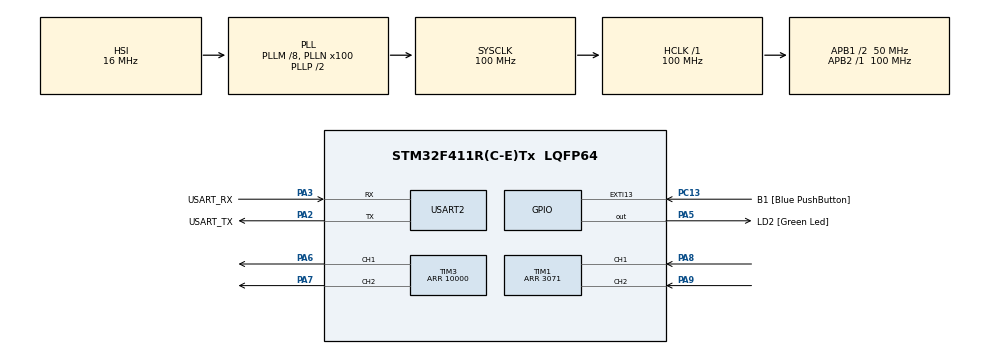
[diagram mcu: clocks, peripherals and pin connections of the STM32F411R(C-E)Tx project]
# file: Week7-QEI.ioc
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Mcu.Family=STM32F4
Mcu.Name=STM32F411R(C-E)Tx
Mcu.Package=LQFP64
NVIC.PriorityGroup=NVIC_PRIORITYGROUP_0
NVIC.TIM2_IRQn=true\:0\:0\:false\:false\:true\:true\:true
NVIC.TIM3_IRQn=true\:0\:0\:false\:false\:true\:true\:true
PA13.GPIO_Label=TMS
PA13.Mode=Serial_Wire
PA13.Signal=SYS_JTMS-SWDIO
PA14.GPIO_Label=TCK
PA14.Mode=Serial_Wire
PA14.Signal=SYS_JTCK-SWCLK
PA2.GPIO_Label=USART_TX
PA2.Mode=Asynchronous
PA2.Signal=USART2_TX
PA3.GPIO_Label=USART_RX
PA3.Mode=Asynchronous
PA3.Signal=USART2_RX
PA5.GPIO_Label=LD2 [Green Led]
PA5.Signal=GPIO_Output
PA6.Signal=S_TIM3_CH1
PA7.Signal=S_TIM3_CH2
PA8.Signal=S_TIM1_CH1
PA9.Signal=S_TIM1_CH2
PB3.GPIO_Label=SWO
PB3.Signal=SYS_JTDO-SWO
PC13-ANTI_TAMP.GPIO_Label=B1 [Blue PushButton]
PC13-ANTI_TAMP.GPIO_ModeDefaultEXTI=GPIO_MODE_IT_FALLING
PC13-ANTI_TAMP.Signal=GPXTI13
PC14-OSC32_IN.Mode=LSE-External-Oscillator
PC14-OSC32_IN.Signal=RCC_OSC32_IN
PC15-OSC32_OUT.Mode=LSE-External-Oscillator
PC15-OSC32_OUT.Signal=RCC_OSC32_OUT
PH0\ -\ OSC_IN.Mode=HSE-External-Clock-Source
PH0\ -\ OSC_IN.Signal=RCC_OSC_IN
PH1\ -\ OSC_OUT.Mode=HSE-External-Clock-Source
PH1\ -\ OSC_OUT.Signal=RCC_OSC_OUT
ProjectManager.HeapSize=0x200
ProjectManager.StackSize=0x400
ProjectManager.TargetToolchain=STM32CubeIDE
RCC.48MHZClocksFreq_Value=50000000
RCC.AHBFreq_Value=100000000
RCC.APB1CLKDivider=RCC_HCLK_DIV2
RCC.APB1Freq_Value=50000000
RCC.APB1TimFreq_Value=100000000
RCC.APB2Freq_Value=100000000
RCC.APB2TimFreq_Value=100000000
RCC.CortexFreq_Value=100000000
RCC.FLatency-AdvancedSettings=FLASH_LATENCY_3
RCC.HCLKFreq_Value=100000000
RCC.HSE_VALUE=8000000
RCC.HSI_VALUE=16000000
RCC.PLLM=8
RCC.PLLN=100
RCC.SYSCLKFreq_VALUE=100000000
RCC.SYSCLKSource=RCC_SYSCLKSOURCE_PLLCLK
RCC.VCOOutputFreq_Value=200000000
SH.S_TIM1_CH1.0=TIM1_CH1,Encoder_Interface
SH.S_TIM1_CH2.0=TIM1_CH2,Encoder_Interface
SH.S_TIM3_CH1.0=TIM3_CH1,PWM Generation1 CH1
SH.S_TIM3_CH2.0=TIM3_CH2,PWM Generation2 CH2
TIM1.EncoderMode=TIM_ENCODERMODE_TI12
TIM1.Period=3071
TIM2.Prescaler=99
TIM3.Channel-PWM\ Generation1\ CH1=TIM_CHANNEL_1
TIM3.Channel-PWM\ Generation2\ CH2=TIM_CHANNEL_2
TIM3.Period=10000
USART2.VirtualMode=VM_ASYNC
VP_TIM2_VS_ClockSourceINT.Mode=Internal
VP_TIM3_VS_ClockSourceINT.Mode=Internal
board=NUCLEO-F411RE

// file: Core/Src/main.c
/* USER CODE BEGIN Header */
/**
 ******************************************************************************
 * @file           : main.c
 * @brief          : Main program body
 ******************************************************************************
 * @attention
 *
 * <h2><center>&copy; Copyright (c) 2021 STMicroelectronics.
 * All rights reserved.</center></h2>
 *
 * This software component is licensed by ST under BSD 3-Clause license,
 * the "License"; You may not use this file except in compliance with the
 * License. You may obtain a copy of the License at:
 *                        opensource.org/licenses/BSD-3-Clause
 *
 ******************************************************************************
 */
/* USER CODE END Header */
#include "main.h"
#include "math.h"

TIM_HandleTypeDef htim1;
TIM_HandleTypeDef htim2;
TIM_HandleTypeDef htim3;

UART_HandleTypeDef huart2;

/* USER CODE BEGIN PV */
uint64_t _micros = 0;
float EncoderVel = 0;
float EncoderVelRPM = 0;
uint64_t Timestamp_Encoder = 0;

int PWMOut = 3000;

uint64_t _micro = 0;

float Volt = 1;
float KP = 125;
float KI = 1;
float KD = 1;
float error = 0;
float integral_error = 0;
float last_error = 0;
float newVolt = 0;
int RPMInput = 0;
float _EncoderVelocity_Update = 0;
/* USER CODE END PV */

void SystemClock_Config(void);
static void MX_GPIO_Init(void);
static void MX_USART2_UART_Init(void);
static void MX_TIM1_Init(void);
static void MX_TIM2_Init(void);
static void MX_TIM3_Init(void);
/* USER CODE BEGIN PFP */
uint64_t micros();
float EncoderVelocity_Update();
void RPMOut();

/* USER CODE END PFP */

int main(void)
{

  /* MCU Configuration--------------------------------------------------------*/

  /* Reset of all peripherals, Initializes the Flash interface and the Systick. */
  HAL_Init();

  /* Configure the system clock */
  SystemClock_Config();

  /* Initialize all configured peripherals */
  MX_GPIO_Init();
  MX_USART2_UART_Init();
  MX_TIM1_Init();
  MX_TIM2_Init();
  MX_TIM3_Init();
  /* USER CODE BEGIN 2 */
	HAL_TIM_Base_Start_IT(&htim2);
	HAL_TIM_Encoder_Start(&htim1, TIM_CHANNEL_ALL);
	HAL_TIM_Base_Start(&htim3);
	HAL_TIM_PWM_Start(&htim3, TIM_CHANNEL_1);
	HAL_TIM_PWM_Start(&htim3, TIM_CHANNEL_2);
  /* USER CODE END 2 */

  /* Infinite loop */
	while (1)
	{

    /* USER CODE BEGIN 3 */

		//RAW Read
//		if (micros() - Timestamp_Encoder >= 1000)
//		{
//			Timestamp_Encoder = micros();
//			EncoderVel = EncoderVelocity_Update();
//		}

		//Add LPF?
		if (micros() - Timestamp_Encoder >= 1000)
		{
			Timestamp_Encoder = micros();
			EncoderVel = (EncoderVel * 99 + EncoderVelocity_Update()) / 100.0; //P/S
			EncoderVelRPM = (EncoderVelRPM * 99 + (EncoderVel*60)/3072) / 100.0;  //RPM

			error = RPMInput-EncoderVelRPM;
			integral_error += error;
			PWMOut = (KP*error) + (KI*integral_error) + (KD*(error-last_error));
			last_error = error;

			if(RPMInput > 0)
			{
				__HAL_TIM_SET_COMPARE(&htim3, TIM_CHANNEL_1, abs(PWMOut));
				__HAL_TIM_SET_COMPARE(&htim3, TIM_CHANNEL_2, 0);
			}
			else if (RPMInput < 0)
			{
				__HAL_TIM_SET_COMPARE(&htim3, TIM_CHANNEL_1, 0);
				__HAL_TIM_SET_COMPARE(&htim3, TIM_CHANNEL_2, abs(PWMOut));
			}
			else
			{
				__HAL_TIM_SET_COMPARE(&htim3, TIM_CHANNEL_1, 0);
				__HAL_TIM_SET_COMPARE(&htim3, TIM_CHANNEL_2, 0);
			}

		}

	}
  /* USER CODE END 3 */
}

void SystemClock_Config(void)
{
  RCC_OscInitTypeDef RCC_OscInitStruct = {0};
  RCC_ClkInitTypeDef RCC_ClkInitStruct = {0};

  /** Configure the main internal regulator output voltage
  */
  __HAL_RCC_PWR_CLK_ENABLE();
  __HAL_PWR_VOLTAGESCALING_CONFIG(PWR_REGULATOR_VOLTAGE_SCALE1);
  /** Initializes the RCC Oscillators according to the specified parameters
  * in the RCC_OscInitTypeDef structure.
  */
  RCC_OscInitStruct.OscillatorType = RCC_OSCILLATORTYPE_HSI;
  RCC_OscInitStruct.HSIState = RCC_HSI_ON;
  RCC_OscInitStruct.HSICalibrationValue = RCC_HSICALIBRATION_DEFAULT;
  RCC_OscInitStruct.PLL.PLLState = RCC_PLL_ON;
  RCC_OscInitStruct.PLL.PLLSource = RCC_PLLSOURCE_HSI;
  RCC_OscInitStruct.PLL.PLLM = 8;
  RCC_OscInitStruct.PLL.PLLN = 100;
  RCC_OscInitStruct.PLL.PLLP = RCC_PLLP_DIV2;
  RCC_OscInitStruct.PLL.PLLQ = 4;
  if (HAL_RCC_OscConfig(&RCC_OscInitStruct) != HAL_OK)
  {
    Error_Handler();
  }
  /** Initializes the CPU, AHB and APB buses clocks
  */
  RCC_ClkInitStruct.ClockType = RCC_CLOCKTYPE_HCLK|RCC_CLOCKTYPE_SYSCLK
                              |RCC_CLOCKTYPE_PCLK1|RCC_CLOCKTYPE_PCLK2;
  RCC_ClkInitStruct.SYSCLKSource = RCC_SYSCLKSOURCE_PLLCLK;
  RCC_ClkInitStruct.AHBCLKDivider = RCC_SYSCLK_DIV1;
  RCC_ClkInitStruct.APB1CLKDivider = RCC_HCLK_DIV2;
  RCC_ClkInitStruct.APB2CLKDivider = RCC_HCLK_DIV1;

  if (HAL_RCC_ClockConfig(&RCC_ClkInitStruct, FLASH_LATENCY_3) != HAL_OK)
  {
    Error_Handler();
  }
}

static void MX_TIM1_Init(void)
{

  TIM_Encoder_InitTypeDef sConfig = {0};
  TIM_MasterConfigTypeDef sMasterConfig = {0};

  htim1.Instance = TIM1;
  htim1.Init.Prescaler = 0;
  htim1.Init.CounterMode = TIM_COUNTERMODE_UP;
  htim1.Init.Period = 3071;
  htim1.Init.ClockDivision = TIM_CLOCKDIVISION_DIV1;
  htim1.Init.RepetitionCounter = 0;
  htim1.Init.AutoReloadPreload = TIM_AUTORELOAD_PRELOAD_DISABLE;
  sConfig.EncoderMode = TIM_ENCODERMODE_TI12;
  sConfig.IC1Polarity = TIM_ICPOLARITY_RISING;
  sConfig.IC1Selection = TIM_ICSELECTION_DIRECTTI;
  sConfig.IC1Prescaler = TIM_ICPSC_DIV1;
  sConfig.IC1Filter = 0;
  sConfig.IC2Polarity = TIM_ICPOLARITY_RISING;
  sConfig.IC2Selection = TIM_ICSELECTION_DIRECTTI;
  sConfig.IC2Prescaler = TIM_ICPSC_DIV1;
  sConfig.IC2Filter = 0;
  if (HAL_TIM_Encoder_Init(&htim1, &sConfig) != HAL_OK)
  {
    Error_Handler();
  }
  sMasterConfig.MasterOutputTrigger = TIM_TRGO_RESET;
  sMasterConfig.MasterSlaveMode = TIM_MASTERSLAVEMODE_DISABLE;
  if (HAL_TIMEx_MasterConfigSynchronization(&htim1, &sMasterConfig) != HAL_OK)
  {
    Error_Handler();
  }

}

static void MX_TIM2_Init(void)
{

  TIM_ClockConfigTypeDef sClockSourceConfig = {0};
  TIM_MasterConfigTypeDef sMasterConfig = {0};

  htim2.Instance = TIM2;
  htim2.Init.Prescaler = 99;
  htim2.Init.CounterMode = TIM_COUNTERMODE_UP;
  htim2.Init.Period = 4294967295;
  htim2.Init.ClockDivision = TIM_CLOCKDIVISION_DIV1;
  htim2.Init.AutoReloadPreload = TIM_AUTORELOAD_PRELOAD_DISABLE;
  if (HAL_TIM_Base_Init(&htim2) != HAL_OK)
  {
    Error_Handler();
  }
  sClockSourceConfig.ClockSource = TIM_CLOCKSOURCE_INTERNAL;
  if (HAL_TIM_ConfigClockSource(&htim2, &sClockSourceConfig) != HAL_OK)
  {
    Error_Handler();
  }
  sMasterConfig.MasterOutputTrigger = TIM_TRGO_RESET;
  sMasterConfig.MasterSlaveMode = TIM_MASTERSLAVEMODE_DISABLE;
  if (HAL_TIMEx_MasterConfigSynchronization(&htim2, &sMasterConfig) != HAL_OK)
  {
    Error_Handler();
  }

}

static void MX_TIM3_Init(void)
{

  TIM_ClockConfigTypeDef sClockSourceConfig = {0};
  TIM_MasterConfigTypeDef sMasterConfig = {0};
  TIM_OC_InitTypeDef sConfigOC = {0};

  htim3.Instance = TIM3;
  htim3.Init.Prescaler = 0;
  htim3.Init.CounterMode = TIM_COUNTERMODE_UP;
  htim3.Init.Period = 10000;
  htim3.Init.ClockDivision = TIM_CLOCKDIVISION_DIV1;
  htim3.Init.AutoReloadPreload = TIM_AUTORELOAD_PRELOAD_DISABLE;
  if (HAL_TIM_Base_Init(&htim3) != HAL_OK)
  {
    Error_Handler();
  }
  sClockSourceConfig.ClockSource = TIM_CLOCKSOURCE_INTERNAL;
  if (HAL_TIM_ConfigClockSource(&htim3, &sClockSourceConfig) != HAL_OK)
  {
    Error_Handler();
  }
  if (HAL_TIM_PWM_Init(&htim3) != HAL_OK)
  {
    Error_Handler();
  }
  sMasterConfig.MasterOutputTrigger = TIM_TRGO_RESET;
  sMasterConfig.MasterSlaveMode = TIM_MASTERSLAVEMODE_DISABLE;
  if (HAL_TIMEx_MasterConfigSynchronization(&htim3, &sMasterConfig) != HAL_OK)
  {
    Error_Handler();
  }
  sConfigOC.OCMode = TIM_OCMODE_PWM1;
  sConfigOC.Pulse = 0;
  sConfigOC.OCPolarity = TIM_OCPOLARITY_HIGH;
  sConfigOC.OCFastMode = TIM_OCFAST_DISABLE;
  if (HAL_TIM_PWM_ConfigChannel(&htim3, &sConfigOC, TIM_CHANNEL_1) != HAL_OK)
  {
    Error_Handler();
  }
  if (HAL_TIM_PWM_ConfigChannel(&htim3, &sConfigOC, TIM_CHANNEL_2) != HAL_OK)
  {
    Error_Handler();
  }
  HAL_TIM_MspPostInit(&htim3);

}

static void MX_USART2_UART_Init(void)
{

  huart2.Instance = USART2;
  huart2.Init.BaudRate = 115200;
  huart2.Init.WordLength = UART_WORDLENGTH_8B;
  huart2.Init.StopBits = UART_STOPBITS_1;
  huart2.Init.Parity = UART_PARITY_NONE;
  huart2.Init.Mode = UART_MODE_TX_RX;
  huart2.Init.HwFlowCtl = UART_HWCONTROL_NONE;
  huart2.Init.OverSampling = UART_OVERSAMPLING_16;
  if (HAL_UART_Init(&huart2) != HAL_OK)
  {
    Error_Handler();
  }

}

static void MX_GPIO_Init(void)
{
  GPIO_InitTypeDef GPIO_InitStruct = {0};

  /* GPIO Ports Clock Enable */
  __HAL_RCC_GPIOC_CLK_ENABLE();
  __HAL_RCC_GPIOH_CLK_ENABLE();
  __HAL_RCC_GPIOA_CLK_ENABLE();
  __HAL_RCC_GPIOB_CLK_ENABLE();

  /*Configure GPIO pin Output Level */
  HAL_GPIO_WritePin(LD2_GPIO_Port, LD2_Pin, GPIO_PIN_RESET);

  /*Configure GPIO pin : B1_Pin */
  GPIO_InitStruct.Pin = B1_Pin;
  GPIO_InitStruct.Mode = GPIO_MODE_IT_FALLING;
  GPIO_InitStruct.Pull = GPIO_NOPULL;
  HAL_GPIO_Init(B1_GPIO_Port, &GPIO_InitStruct);

  /*Configure GPIO pin : LD2_Pin */
  GPIO_InitStruct.Pin = LD2_Pin;
  GPIO_InitStruct.Mode = GPIO_MODE_OUTPUT_PP;
  GPIO_InitStruct.Pull = GPIO_NOPULL;
  GPIO_InitStruct.Speed = GPIO_SPEED_FREQ_LOW;
  HAL_GPIO_Init(LD2_GPIO_Port, &GPIO_InitStruct);

}

/* USER CODE BEGIN 4 */
#define  HTIM_ENCODER htim1
#define  MAX_SUBPOSITION_OVERFLOW 1536
#define  MAX_ENCODER_PERIOD 3072

//int32_t EncoderPositionDiff;
//uint64_t EncoderTimeDiff;
uint32_t EncoderNowPosition;
//uint32_t EncoderLastPosition;

float EncoderVelocity_Update()  //Angular velocity
{
	//Save Last state
	static uint32_t EncoderLastPosition = 0;
	static uint64_t EncoderLastTimestamp = 0;

	//read data
	EncoderNowPosition = HTIM_ENCODER.Instance->CNT;
	uint64_t EncoderNowTimestamp = micros();

	int32_t EncoderPositionDiff;
	uint64_t EncoderTimeDiff;

	EncoderTimeDiff = EncoderNowTimestamp - EncoderLastTimestamp;
	EncoderPositionDiff = EncoderNowPosition - EncoderLastPosition;

	//compensate overflow and underflow
	if (EncoderPositionDiff >= MAX_SUBPOSITION_OVERFLOW)
	{
		EncoderPositionDiff -= MAX_ENCODER_PERIOD;
	}
	else if (-EncoderPositionDiff >= MAX_SUBPOSITION_OVERFLOW)
	{
		EncoderPositionDiff += MAX_ENCODER_PERIOD;
	}

	//Update Position and time
	EncoderLastPosition = EncoderNowPosition;
	EncoderLastTimestamp = EncoderNowTimestamp;

	//Calculate velocity
	//EncoderTimeDiff is in uS
//	_EncoderVelocity_Update = (EncoderPositionDiff * 1000000) / (float) EncoderTimeDiff;
//	return _EncoderVelocity_Update;
	return (EncoderPositionDiff * 1000000) / (float) EncoderTimeDiff;

}

void HAL_TIM_PeriodElapsedCallback(TIM_HandleTypeDef *htim)
{
	if (htim == &htim2)
	{
		_micros += 4294967295;
	}
}
uint64_t micros()
{
	return _micros + htim2.Instance->CNT;
}

void RPMOut()
{
//	if(RPMInput > 0)
//	{
//		__HAL_TIM_SET_COMPARE(&htim3, TIM_CHANNEL_1, PWMOut);
//		__HAL_TIM_SET_COMPARE(&htim3, TIM_CHANNEL_2, 0);
//	}
//	else if (RPMInput < 0)
//	{
//		__HAL_TIM_SET_COMPARE(&htim3, TIM_CHANNEL_1, 0);
//		__HAL_TIM_SET_COMPARE(&htim3, TIM_CHANNEL_2, PWMOut);
//	}
//	else
//	{
//		__HAL_TIM_SET_COMPARE(&htim3, TIM_CHANNEL_1, 0);
//		__HAL_TIM_SET_COMPARE(&htim3, TIM_CHANNEL_2, 0);
//		PWMOut = 0;
//	}
//	static float error;
//	static float integral_error;
//	static float last_error;
//	if (RPMInput>=0)
//	{
//		error = RPMInput-EncoderVelRPM;
//	}
//	else if(RPMInput<0)
//	{
//		error = RPMInput*(-1)-EncoderVelRPM*(-1);
//	}
//
//	integral_error += error;
//	PWMOut = (KP*error) + (KI*integral_error) + (KD*(error-last_error));
//	last_error = error;

//	if (PWMOut > 10000)
//	{
//		PWMOut = 10000;
//	}
//	if (PWMOut < -10000)
//	{
//		PWMOut = -10000;
//	}
//	return PWMOut;

}
/* USER CODE END 4 */

void Error_Handler(void)
{
	__disable_irq();
	while (1)
	{
	}
}

/************************ (C) COPYRIGHT STMicroelectronics *****END OF FILE****/
